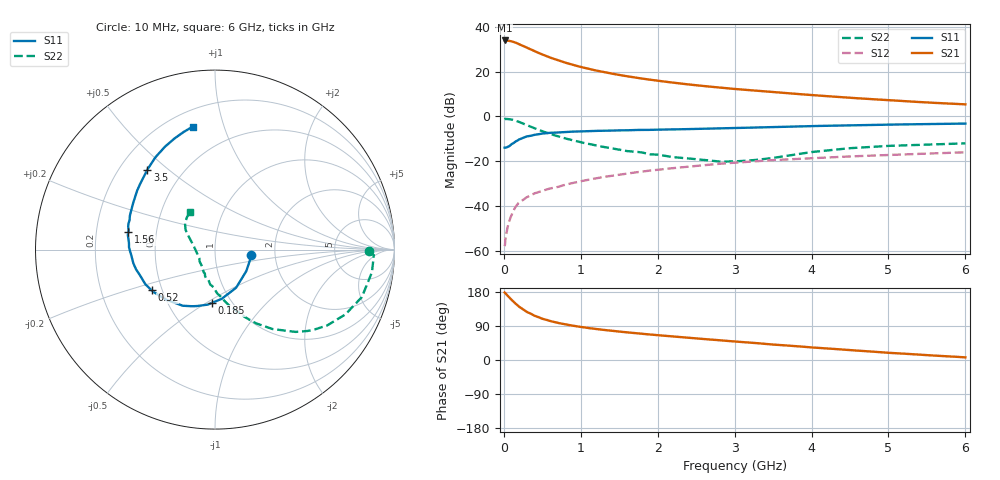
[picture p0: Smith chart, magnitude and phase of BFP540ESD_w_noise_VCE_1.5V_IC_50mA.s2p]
! Infineon Technologies  Discrete & RF Semiconductors
! BFP540ESD
! VCE =  1.5 V,  IC =  50 mA
! Common Emitter S-Parameters:  Nov 2015
# GHz  S  MA  R  50
!  f  S11  S21  S12  S22
! GHz  MAG  ANG  MAG  ANG  MAG  ANG  MAG  ANG
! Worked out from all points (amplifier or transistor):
!   210 points, 10 MHz to 6 GHz, reference 50 ohm
!   highest |S21| = 33.8 dB at 10 MHz (marker M1)
!   |S21| within 3 dB of that: start of sweep to 286.3 MHz
!   unconditionally stable (mu >= 1): start of sweep to 26.75 MHz; 1.296 GHz to end of sweep
!   at 185 MHz: K = 0.41, MSG = 35.6 dB, |S12| = -38.8 dB
!   at 1.52 GHz: K = 1.04, MAG = 20.9 dB, |S12| = -25.8 dB
!   at 6 GHz: K = 1.13, MAG = 8.5 dB, |S12| = -15.9 dB
!   lowest NFmin = 1.82 dB at 900 MHz
!   S11 on the Smith chart (normalised r, x): 10 MHz: 1.50, -0.09; 185 MHz: 0.81, -0.53; 520 MHz: 0.44, -0.24; 1.56 GHz: 0.34, +0.09; 3.5 GHz: 0.31, +0.43; 6 GHz: 0.30, +0.79
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0.01  0.2022 -8.4  49.22 178.1  0.0013 121.7  0.8575 -0.7
0.05  0.2116 -34.5  48.95 169.5  0.0035 85.7  0.8835 -8.2
0.1  0.2428 -61.0  47.21 158.8  0.0064 82.4  0.86 -17.9
0.15  0.2766 -82.1  44.23 149.1  0.0096 74.8  0.8116 -26.4
0.185  0.2972 -93.2  41.72 143.2  0.0115 72.3  0.7704 -31.6
0.2  0.3091 -97.5  40.78 140.5  0.0123 71.4  0.7548 -34.0
0.24  0.3296 -107.5  37.91 134.8  0.0136 68.1  0.7092 -39.0
0.3  0.3607 -119.9  34 126.8  0.016 67.7  0.642 -45.6
0.4  0.3911 -134.7  28.3 116.7  0.0195 64.0  0.5464 -54.1
0.52  0.4199 -147.4  23.25 107.9  0.0227 64.2  0.457 -61.9
0.6  0.4333 -153.5  20.49 103.0  0.025 63.4  0.4102 -66.2
0.7  0.4401 -160.3  17.91 98.0  0.027 63.2  0.3631 -70.7
0.8  0.4531 -165.8  15.74 93.8  0.0304 63.1  0.3242 -75.4
1.02  0.4664 -175.5  12.43 86.7  0.0368 62.9  0.2624 -83.3
1.3  0.4808 175.6  9.743 79.4  0.0452 61.5  0.2095 -92.3
1.56  0.4924 168.6  8.077 73.8  0.0521 60.5  0.1756 -101.7
2.02  0.5106 158.2  6.18 65.1  0.0657 57.4  0.1397 -117.1
3.1  0.5588 137.2  3.972 47.4  0.0961 47.8  0.1023 -168.4
3.5  0.5838 130.2  3.483 40.7  0.107 43.8  0.1196 170.9
4.1  0.6166 121.4  2.917 31.9  0.1201 37.9  0.1684 152.4
5.1  0.6629 108.9  2.254 17.9  0.1412 28.2  0.2246 137.3
6  0.6958 100.3  1.863 6.9  0.1595 20.9  0.2524 123.7
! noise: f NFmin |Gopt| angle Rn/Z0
0.9  1.82  0.49  -140  0.15
1.8  1.97  0.51  -142  0.15
2.4  2.02  0.52  -132  0.19
3  2.14  0.54  -123  0.26
4  2.19  0.61  -102  0.45
5  2.28  0.69  -86  0.67
6  2.72  0.63  -83  1.04
